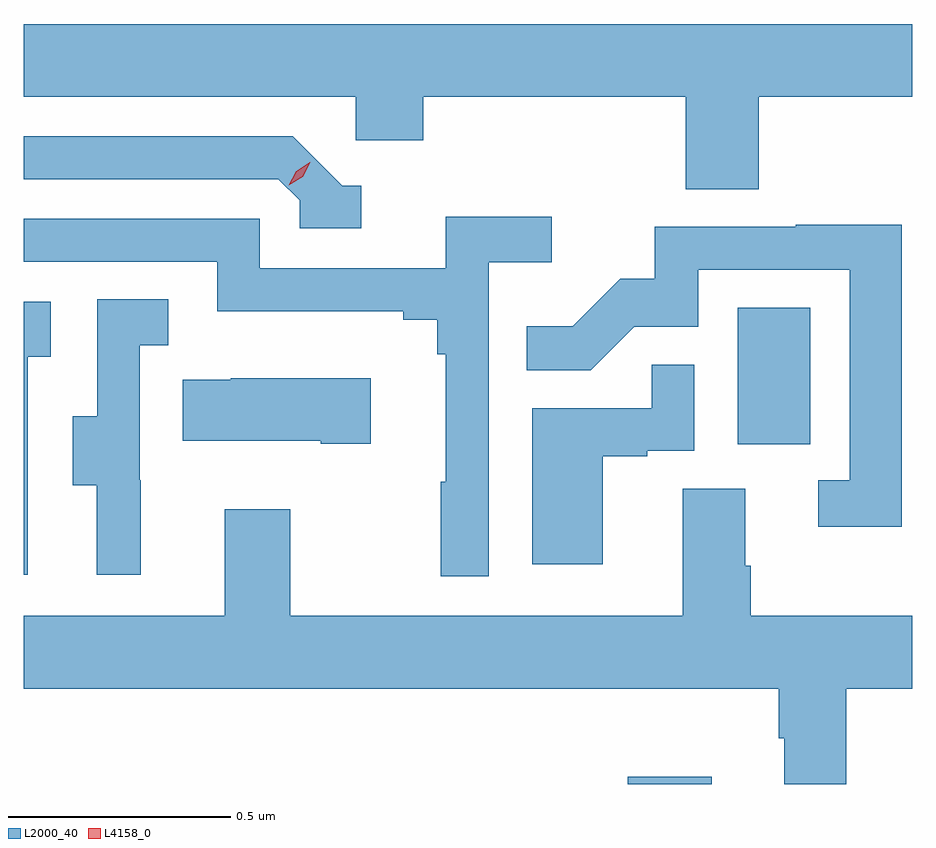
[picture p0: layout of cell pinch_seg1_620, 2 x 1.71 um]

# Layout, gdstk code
import gdstk
lib = gdstk.Library(unit=1e-6, precision=1e-09)
def R(c, l, rs):  # rectangles x0, y0, x1, y1
    for r in rs: c.add(gdstk.rectangle(r[:2], r[2:], *l))
def P(c, l, *ps):  # polygons
    for p in ps: c.add(gdstk.Polygon(p, *l))
L2000_40 = (2000, 40)
L4158_0 = (4158, 0)

pinch_seg1_620 = lib.new_cell('pinch_seg1_620')
R(pinch_seg1_620, L2000_40, [(1081.975,507.561,1082.164,507.577), (1082.222,508.326,1082.386,508.633)])
P(pinch_seg1_620, L2000_40, [(1082.27,509.108),(1082.615,509.108),(1082.615,509.272),(1080.615,509.272),(1080.615,509.108),(1081.362,509.108),(1081.362,509.01),(1081.514,509.01),(1081.514,509.108),(1082.105,509.108),(1082.105,508.9),(1082.27,508.9)],
  [(1081.375,508.908),(1081.332,508.908),(1081.221,509.019),(1080.615,509.019),(1080.615,508.923),(1081.188,508.923),(1081.236,508.875),(1081.236,508.812),(1081.375,508.812)],
  [(1081.662,508.736),(1081.804,508.736),(1081.804,508.838),(1081.565,508.838),(1081.565,508.722),(1081.146,508.722),(1081.146,508.833),(1080.615,508.833),(1080.615,508.737),(1081.05,508.737),(1081.05,508.625),(1081.469,508.625),(1081.469,508.606),(1081.546,508.606),(1081.546,508.529),(1081.565,508.529),(1081.565,508.241),(1081.554,508.241),(1081.554,508.029),(1081.662,508.029)],
  [(1082.591,508.82),(1082.353,508.82),(1082.353,508.815),(1082.035,508.815),(1082.035,508.698),(1081.958,508.698),(1081.851,508.591),(1081.747,508.591),(1081.747,508.492),(1081.891,508.492),(1081.989,508.59),(1082.133,508.59),(1082.133,508.719),(1082.475,508.719),(1082.475,508.245),(1082.403,508.245),(1082.403,508.14),(1082.591,508.14)],
  [(1080.878,508.245),(1080.876,508.245),(1080.876,508.549),(1080.94,508.549),(1080.94,508.652),(1080.78,508.652),(1080.78,508.389),(1080.725,508.389),(1080.725,508.234),(1080.779,508.234),(1080.779,508.032),(1080.878,508.032)],
  [(1080.624,508.523),(1080.676,508.523),(1080.676,508.647),(1080.615,508.647),(1080.615,508.032),(1080.624,508.032)],
  [(1081.918,508.299),(1082.018,508.299),(1082.018,508.311),(1082.124,508.311),(1082.124,508.505),(1082.029,508.505),(1082.029,508.407),(1081.76,508.407),(1081.76,508.056),(1081.918,508.056)],
  [(1081.396,508.474),(1081.081,508.474),(1081.081,508.471),(1080.973,508.471),(1080.973,508.334),(1081.283,508.334),(1081.283,508.327),(1081.396,508.327)],
  [(1082.467,507.776),(1082.615,507.776),(1082.615,507.94),(1082.252,507.94),(1082.252,508.052),(1082.239,508.052),(1082.239,508.226),(1082.099,508.226),(1082.099,507.94),(1081.215,507.94),(1081.215,508.18),(1081.067,508.18),(1081.067,507.94),(1080.615,507.94),(1080.615,507.776),(1082.315,507.776),(1082.315,507.664),(1082.327,507.664),(1082.327,507.561),(1082.467,507.561)])
P(pinch_seg1_620, L4158_0, [(1081.212,508.909),(1081.212,508.909),(1081.228,508.941),(1081.259,508.961),(1081.26,508.961),(1081.26,508.961),(1081.243,508.928),(1081.212,508.909)])

lib.write_gds('pinch_seg1_620.gds')
